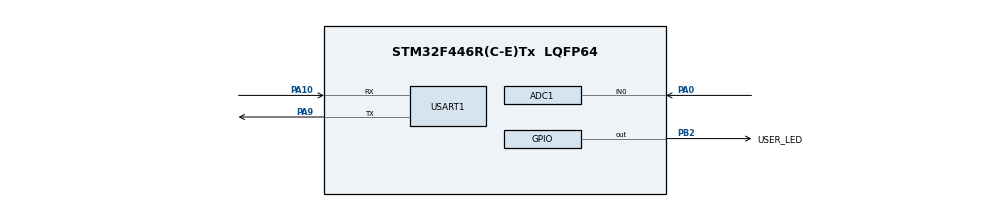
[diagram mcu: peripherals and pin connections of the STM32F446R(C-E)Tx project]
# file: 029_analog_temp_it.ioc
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ADC1.Channel-0\#ChannelRegularConversion=ADC_CHANNEL_0
ADC1.ContinuousConvMode=DISABLE
ADC1.NbrOfConversionFlag=1
ADC1.Rank-0\#ChannelRegularConversion=1
ADC1.SamplingTime-0\#ChannelRegularConversion=ADC_SAMPLETIME_3CYCLES
ADC1.master=1
Mcu.Family=STM32F4
Mcu.Name=STM32F446R(C-E)Tx
Mcu.Package=LQFP64
NVIC.ADC_IRQn=true\:0\:0\:false\:false\:true\:true\:true\:true
NVIC.PriorityGroup=NVIC_PRIORITYGROUP_4
NVIC.TIM2_IRQn=true\:0\:0\:false\:false\:true\:true\:true\:true
NVIC.USART1_IRQn=true\:0\:0\:false\:false\:true\:true\:true\:true
PA0-WKUP.Signal=ADCx_IN0
PA10.Mode=Asynchronous
PA10.Signal=USART1_RX
PA9.Mode=Asynchronous
PA9.Signal=USART1_TX
PB2.GPIO_Label=USER_LED
PB2.Signal=GPIO_Output
ProjectManager.HeapSize=0x200
ProjectManager.StackSize=0x400
ProjectManager.TargetToolchain=STM32CubeIDE
RCC.CortexFreq_Value=16000000
RCC.USBFreq_Value=96000000
RCC.VCOOutputFreq_Value=192000000
SH.ADCx_IN0.0=ADC1_IN0,IN0
TIM2.Period=49999
TIM2.Prescaler=31
USART1.VirtualMode=VM_ASYNC
VP_TIM2_VS_ClockSourceINT.Mode=Internal
board=custom

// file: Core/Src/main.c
/* USER CODE BEGIN Header */
/**
  ******************************************************************************
  * @file           : main.c
  * @brief          : Main program body
  ******************************************************************************
  * @attention
  *
  * Copyright (c) 2025 STMicroelectronics.
  * All rights reserved.
  *
  * This software is licensed under terms that can be found in the LICENSE file
  * in the root directory of this software component.
  * If no LICENSE file comes with this software, it is provided AS-IS.
  *
  ******************************************************************************
  */
/* USER CODE END Header */
#include "main.h"

/* USER CODE BEGIN Includes */
#include "ringbuffer.h"
#include <stdio.h>
#include <string.h>
#include <math.h>
/* USER CODE END Includes */

/* USER CODE BEGIN PD */
#define WELCOME_MSG "Welcome to the Nucleo management console\r\n"
/* USER CODE END PD */

/* USER CODE BEGIN PM */
char readBuf[1];
uint8_t txData;
__IO ITStatus UartReady = SET;
__IO ITStatus UartTxComplete = SET;
RingBuffer txBuf, rxBuf;
volatile uint32_t adcValue = 0;
volatile uint8_t adcDataReady = 0;
/* USER CODE END PM */

ADC_HandleTypeDef hadc1;

TIM_HandleTypeDef htim2;

UART_HandleTypeDef huart1;

void SystemClock_Config(void);
static void MX_GPIO_Init(void);
static void MX_ADC1_Init(void);
static void MX_USART1_UART_Init(void);
static void MX_TIM2_Init(void);
/* USER CODE BEGIN PFP */
int _write(int file, char *ptr, int len)
{
  if (UART_Transmit(&huart1, (uint8_t *)ptr, len))
  {
    // Wait for transmission to complete to ensure log integrity
    while (UartTxComplete == RESET || RingBuffer_GetDataLength(&txBuf) > 0)
    {
      // Allow other interrupts to process
      __NOP();
    }
    return len;
  }
  return 0; // Return 0 on failure
}

float adc_to_temperature(uint32_t adcValue)
{
	// STM32 uses 3.3V reference and 12-bit ADC (0-4095)
	// Keyestudio sensor has 4.7kΩ pull-up resistor and NTC 10kΩ thermistor

	// Convert ADC value to voltage (0-3.3V)
	double voltage = ((double)adcValue / 4095.0) * 3.3;

	// Calculate thermistor resistance using voltage divider formula
	// R_thermistor = R_pullup * (Vcc - V_measured) / V_measured
	double resistance = 4700.0 * (3.3 - voltage) / voltage;

	// Steinhart-Hart equation (simplified beta formula)
	// T = 1 / (ln(R/R0)/B + 1/T0) - 273.15
	// Where: R0 = 10kΩ at T0 = 25°C (298.15K), B = 3950
	double temperature = 1.0 / (log(resistance / 10000.0) / 3950.0 + 1.0 / 298.15) - 273.15;

	return (float)temperature;
}
/* USER CODE END PFP */

int main(void)
{

  /* MCU Configuration--------------------------------------------------------*/

  /* Reset of all peripherals, Initializes the Flash interface and the Systick. */
  HAL_Init();

  /* Configure the system clock */
  SystemClock_Config();

  /* Initialize all configured peripherals */
  MX_GPIO_Init();
  MX_ADC1_Init();
  MX_USART1_UART_Init();
  MX_TIM2_Init();
  /* USER CODE BEGIN 2 */
  HAL_NVIC_SetPriority(USART1_IRQn, 0, 0);
  HAL_NVIC_EnableIRQ(USART1_IRQn);

  // Enable ADC interrupt
  HAL_NVIC_SetPriority(ADC_IRQn, 1, 0);
  HAL_NVIC_EnableIRQ(ADC_IRQn);

  // Enable Timer interrupt
  HAL_NVIC_SetPriority(TIM2_IRQn, 2, 0);
  HAL_NVIC_EnableIRQ(TIM2_IRQn);

  RingBuffer_Init(&txBuf);
  RingBuffer_Init(&rxBuf);

  UART_Transmit(&huart1, (uint8_t*)WELCOME_MSG, strlen(WELCOME_MSG));

  HAL_Delay(100);

  // start the timer to trigger ADC conversions every 100ms
  HAL_TIM_Base_Start_IT(&htim2);
  /* USER CODE END 2 */

  /* Infinite loop */
  /* USER CODE BEGIN WHILE */
  while (1)
  {
	  if (adcDataReady)
	  {
		  adcDataReady = 0;

		  float temp = adc_to_temperature(adcValue);
		  printf("ADC: %lu, Temp: %.2f°C\r\n", adcValue, temp);
	  }
    /* USER CODE END WHILE */

  }
}

void SystemClock_Config(void)
{
  RCC_OscInitTypeDef RCC_OscInitStruct = {0};
  RCC_ClkInitTypeDef RCC_ClkInitStruct = {0};

  /** Configure the main internal regulator output voltage
  */
  __HAL_RCC_PWR_CLK_ENABLE();
  __HAL_PWR_VOLTAGESCALING_CONFIG(PWR_REGULATOR_VOLTAGE_SCALE3);

  /** Initializes the RCC Oscillators according to the specified parameters
  * in the RCC_OscInitTypeDef structure.
  */
  RCC_OscInitStruct.OscillatorType = RCC_OSCILLATORTYPE_HSI;
  RCC_OscInitStruct.HSIState = RCC_HSI_ON;
  RCC_OscInitStruct.HSICalibrationValue = RCC_HSICALIBRATION_DEFAULT;
  RCC_OscInitStruct.PLL.PLLState = RCC_PLL_NONE;
  if (HAL_RCC_OscConfig(&RCC_OscInitStruct) != HAL_OK)
  {
    Error_Handler();
  }

  /** Initializes the CPU, AHB and APB buses clocks
  */
  RCC_ClkInitStruct.ClockType = RCC_CLOCKTYPE_HCLK|RCC_CLOCKTYPE_SYSCLK
                              |RCC_CLOCKTYPE_PCLK1|RCC_CLOCKTYPE_PCLK2;
  RCC_ClkInitStruct.SYSCLKSource = RCC_SYSCLKSOURCE_HSI;
  RCC_ClkInitStruct.AHBCLKDivider = RCC_SYSCLK_DIV1;
  RCC_ClkInitStruct.APB1CLKDivider = RCC_HCLK_DIV1;
  RCC_ClkInitStruct.APB2CLKDivider = RCC_HCLK_DIV1;

  if (HAL_RCC_ClockConfig(&RCC_ClkInitStruct, FLASH_LATENCY_0) != HAL_OK)
  {
    Error_Handler();
  }
}

static void MX_ADC1_Init(void)
{

  ADC_ChannelConfTypeDef sConfig = {0};

  /** Configure the global features of the ADC (Clock, Resolution, Data Alignment and number of conversion)
  */
  hadc1.Instance = ADC1;
  hadc1.Init.ClockPrescaler = ADC_CLOCK_SYNC_PCLK_DIV2;
  hadc1.Init.Resolution = ADC_RESOLUTION_12B;
  hadc1.Init.ScanConvMode = DISABLE;
  hadc1.Init.ContinuousConvMode = DISABLE;
  hadc1.Init.DiscontinuousConvMode = DISABLE;
  hadc1.Init.ExternalTrigConvEdge = ADC_EXTERNALTRIGCONVEDGE_NONE;
  hadc1.Init.ExternalTrigConv = ADC_SOFTWARE_START;
  hadc1.Init.DataAlign = ADC_DATAALIGN_RIGHT;
  hadc1.Init.NbrOfConversion = 1;
  hadc1.Init.DMAContinuousRequests = DISABLE;
  hadc1.Init.EOCSelection = ADC_EOC_SINGLE_CONV;
  if (HAL_ADC_Init(&hadc1) != HAL_OK)
  {
    Error_Handler();
  }

  /** Configure for the selected ADC regular channel its corresponding rank in the sequencer and its sample time.
  */
  sConfig.Channel = ADC_CHANNEL_0;
  sConfig.Rank = 1;
  sConfig.SamplingTime = ADC_SAMPLETIME_3CYCLES;
  if (HAL_ADC_ConfigChannel(&hadc1, &sConfig) != HAL_OK)
  {
    Error_Handler();
  }

}

static void MX_TIM2_Init(void)
{

  TIM_ClockConfigTypeDef sClockSourceConfig = {0};
  TIM_MasterConfigTypeDef sMasterConfig = {0};

  htim2.Instance = TIM2;
  htim2.Init.Prescaler = 31;
  htim2.Init.CounterMode = TIM_COUNTERMODE_UP;
  htim2.Init.Period = 49999;
  htim2.Init.ClockDivision = TIM_CLOCKDIVISION_DIV1;
  htim2.Init.AutoReloadPreload = TIM_AUTORELOAD_PRELOAD_DISABLE;
  if (HAL_TIM_Base_Init(&htim2) != HAL_OK)
  {
    Error_Handler();
  }
  sClockSourceConfig.ClockSource = TIM_CLOCKSOURCE_INTERNAL;
  if (HAL_TIM_ConfigClockSource(&htim2, &sClockSourceConfig) != HAL_OK)
  {
    Error_Handler();
  }
  sMasterConfig.MasterOutputTrigger = TIM_TRGO_RESET;
  sMasterConfig.MasterSlaveMode = TIM_MASTERSLAVEMODE_DISABLE;
  if (HAL_TIMEx_MasterConfigSynchronization(&htim2, &sMasterConfig) != HAL_OK)
  {
    Error_Handler();
  }

}

static void MX_USART1_UART_Init(void)
{

  huart1.Instance = USART1;
  huart1.Init.BaudRate = 115200;
  huart1.Init.WordLength = UART_WORDLENGTH_8B;
  huart1.Init.StopBits = UART_STOPBITS_1;
  huart1.Init.Parity = UART_PARITY_NONE;
  huart1.Init.Mode = UART_MODE_TX_RX;
  huart1.Init.HwFlowCtl = UART_HWCONTROL_NONE;
  huart1.Init.OverSampling = UART_OVERSAMPLING_16;
  if (HAL_UART_Init(&huart1) != HAL_OK)
  {
    Error_Handler();
  }

}

static void MX_GPIO_Init(void)
{
  GPIO_InitTypeDef GPIO_InitStruct = {0};

  /* GPIO Ports Clock Enable */
  __HAL_RCC_GPIOA_CLK_ENABLE();
  __HAL_RCC_GPIOB_CLK_ENABLE();

  /*Configure GPIO pin Output Level */
  HAL_GPIO_WritePin(USER_LED_GPIO_Port, USER_LED_Pin, GPIO_PIN_RESET);

  /*Configure GPIO pin : USER_LED_Pin */
  GPIO_InitStruct.Pin = USER_LED_Pin;
  GPIO_InitStruct.Mode = GPIO_MODE_OUTPUT_PP;
  GPIO_InitStruct.Pull = GPIO_NOPULL;
  GPIO_InitStruct.Speed = GPIO_SPEED_FREQ_LOW;
  HAL_GPIO_Init(USER_LED_GPIO_Port, &GPIO_InitStruct);

}

/* USER CODE BEGIN 4 */
uint8_t UART_Transmit(UART_HandleTypeDef *huart, uint8_t *pData, uint16_t len)
{
  UartTxComplete = RESET; // Mark transmission as in progress
  if (HAL_UART_Transmit_IT(huart, pData, len) != HAL_OK)
  {
    if (RingBuffer_Write(&txBuf, pData, len) != RING_BUFFER_OK)
      return 0;
  }
  return 1;
}

void HAL_UART_RxCpltCallback(UART_HandleTypeDef *UartHandle)
{
  /* Set transmission flag: transfer complete*/
  UartReady = SET;
}

void HAL_UART_TxCpltCallback(UART_HandleTypeDef *huart)
{
  if (huart == &huart1)
  {
    if (RingBuffer_GetDataLength(&txBuf) > 0)
    {
      RingBuffer_Read(&txBuf, &txData, 1);
      HAL_UART_Transmit_IT(huart, &txData, 1);
    }
    else
    {
      UartTxComplete = SET; // Mark transmission as complete when buffer is empty
    }
  }
}

void HAL_TIM_PeriodElapsedCallback(TIM_HandleTypeDef *htim)
{
  if (htim == &htim2)
  {
    // start ADC conversion
    HAL_ADC_Start_IT(&hadc1);
  }
}

void HAL_ADC_ConvCpltCallback(ADC_HandleTypeDef *hadc)
{
  if (hadc == &hadc1)
  {
    // get the converted value
    adcValue = HAL_ADC_GetValue(&hadc1);

    adcDataReady = 1;
  }
}

/* USER CODE END 4 */

void Error_Handler(void)
{
  __disable_irq();
  while (1)
  {
  }
}
